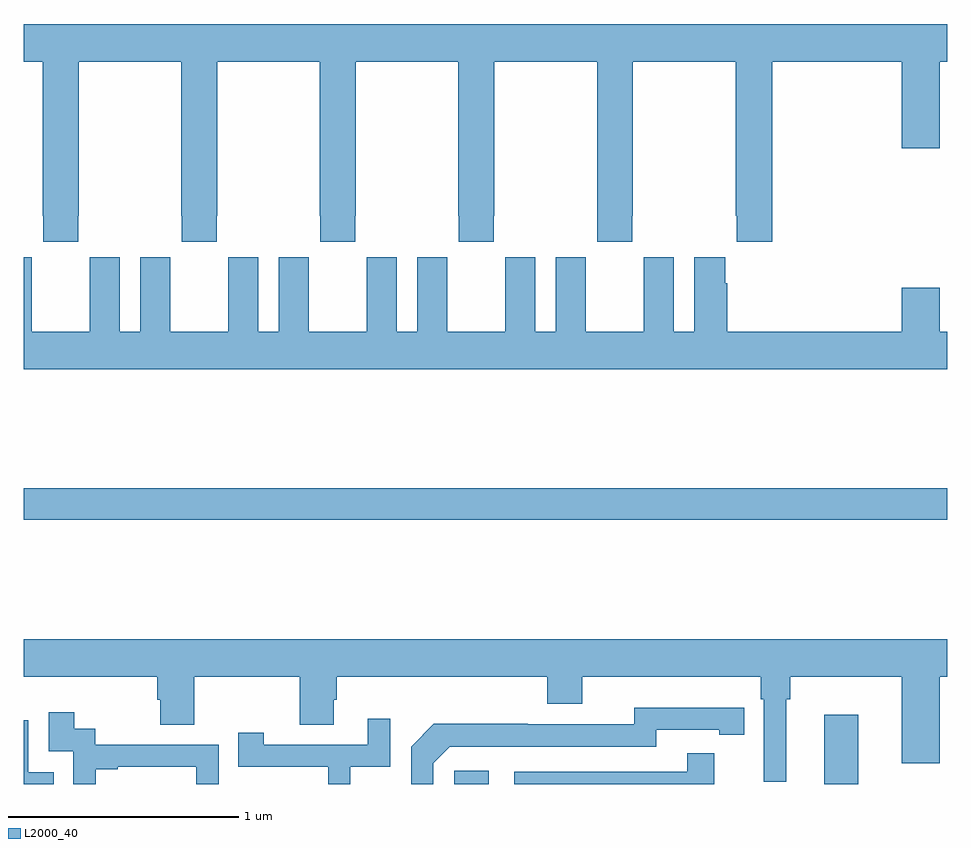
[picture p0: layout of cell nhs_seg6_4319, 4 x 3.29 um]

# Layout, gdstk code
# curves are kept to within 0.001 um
import gdstk
lib = gdstk.Library(unit=1e-6, precision=1e-09)
def R(c, l, rs):  # rectangles x0, y0, x1, y1
    for r in rs: c.add(gdstk.rectangle(r[:2], r[2:], *l))
def P(c, l, *ps):  # polygons
    for p in ps: c.add(gdstk.Polygon(p, *l))
L2000_40 = (2000, 40)

nhs_seg6_4319 = lib.new_cell('nhs_seg6_4319')
R(nhs_seg6_4319, L2000_40, [(366.864,985.5,367.015,985.558), (368.468,985.5,368.614,985.801), (365,986.644,369,986.78)])
P(nhs_seg6_4319, L2000_40, [(365.235,987.961),(365.238,987.961),(365.238,988.628),(365.683,988.628),(365.683,987.961),(365.685,987.961),(365.685,987.849),(365.835,987.849),(365.835,987.961),(365.838,987.961),(365.838,988.628),(366.283,988.628),(366.283,987.961),(366.285,987.961),(366.285,987.849),(366.435,987.849),(366.435,987.961),(366.438,987.961),(366.438,988.628),(366.883,988.628),(366.883,987.961),(366.885,987.961),(366.885,987.849),(367.035,987.849),(367.035,987.961),(367.038,987.961),(367.038,988.628),(367.483,988.628),(367.483,987.961),(367.485,987.961),(367.485,987.849),(367.635,987.849),(367.635,987.961),(367.638,987.961),(367.638,988.628),(368.083,988.628),(368.083,987.961),(368.089,987.961),(368.089,987.849),(368.243,987.849),(368.243,988.628),(368.804,988.628),(368.804,988.254),(368.968,988.254),(368.968,988.628),(369,988.628),(369,988.792),(365,988.792),(365,988.628),(365.083,988.628),(365.083,987.961),(365.085,987.961),(365.085,987.849),(365.235,987.849)],
  [(369,987.46),(368.968,987.46),(368.968,987.649),(368.804,987.649),(368.804,987.46),(368.048,987.46),(368.048,987.668),(368.038,987.668),(368.038,987.781),(367.904,987.781),(367.904,987.46),(367.816,987.46),(367.816,987.781),(367.686,987.781),(367.686,987.668),(367.685,987.668),(367.685,987.46),(367.435,987.46),(367.435,987.668),(367.434,987.668),(367.434,987.781),(367.304,987.781),(367.304,987.46),(367.216,987.46),(367.216,987.781),(367.086,987.781),(367.086,987.668),(367.085,987.668),(367.085,987.46),(366.835,987.46),(366.835,987.668),(366.834,987.668),(366.834,987.781),(366.704,987.781),(366.704,987.46),(366.616,987.46),(366.616,987.781),(366.486,987.781),(366.486,987.668),(366.485,987.668),(366.485,987.46),(366.235,987.46),(366.235,987.668),(366.234,987.668),(366.234,987.781),(366.104,987.781),(366.104,987.46),(366.016,987.46),(366.016,987.781),(365.886,987.781),(365.886,987.668),(365.885,987.668),(365.885,987.46),(365.635,987.46),(365.635,987.668),(365.634,987.668),(365.634,987.781),(365.504,987.781),(365.504,987.46),(365.416,987.46),(365.416,987.781),(365.286,987.781),(365.286,987.668),(365.285,987.668),(365.285,987.46),(365.035,987.46),(365.035,987.668),(365.034,987.668),(365.034,987.781),(365,987.781),(365,987.296),(369,987.296)],
  [(368.302,985.868),(368.321,985.868),(368.321,985.964),(368.804,985.964),(368.804,985.59),(368.968,985.59),(368.968,985.964),(369,985.964),(369,986.128),(365,986.128),(365,985.964),(365.579,985.964),(365.579,985.866),(365.591,985.866),(365.591,985.756),(365.739,985.756),(365.739,985.964),(366.196,985.964),(366.196,985.756),(366.343,985.756),(366.343,985.866),(366.356,985.866),(366.356,985.964),(367.268,985.964),(367.268,985.847),(367.42,985.847),(367.42,985.964),(368.192,985.964),(368.192,985.868),(368.205,985.868),(368.205,985.509),(368.302,985.509)],
  [(366.774,985.59),(366.846,985.662),(367.74,985.662),(367.74,985.734),(368.012,985.734),(368.012,985.714),(368.12,985.714),(368.12,985.83),(367.644,985.831),(367.644,985.758),(367.184,985.758),(367.184,985.76),(366.776,985.76),(366.678,985.662),(366.678,985.5),(366.774,985.5)],
  [(365.312,985.563),(365.407,985.563),(365.407,985.575),(365.748,985.575),(365.748,985.5),(365.844,985.5),(365.844,985.671),(365.31,985.671),(365.31,985.74),(365.218,985.74),(365.218,985.81),(365.109,985.81),(365.109,985.641),(365.214,985.641),(365.214,985.5),(365.312,985.5)],
  [(366.414,985.575),(366.588,985.575),(366.588,985.783),(366.491,985.783),(366.491,985.671),(366.04,985.671),(366.04,985.723),(365.929,985.723),(365.929,985.575),(366.318,985.575),(366.318,985.5),(366.414,985.5)],
  [(365.129,985.551),(365.019,985.551),(365.019,985.776),(365,985.776),(365,985.5),(365.129,985.5)],
  [(367.991,985.633),(367.873,985.633),(367.873,985.554),(367.125,985.554),(367.125,985.5),(367.991,985.5)])

lib.write_gds('nhs_seg6_4319.gds')
